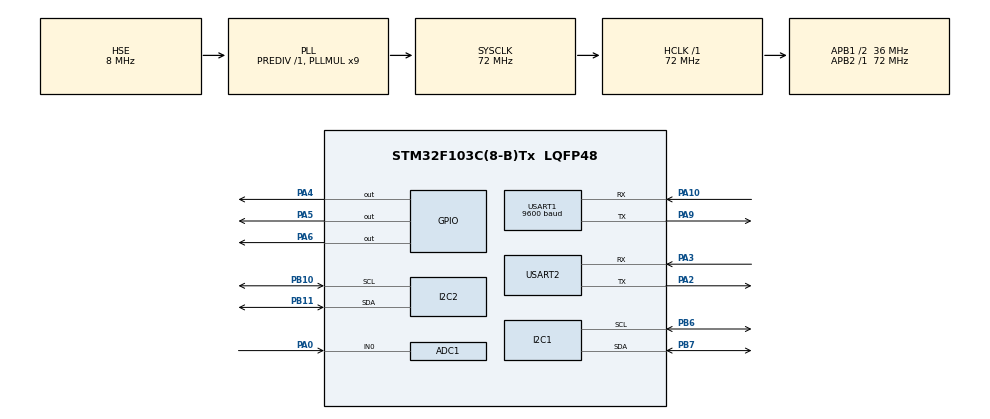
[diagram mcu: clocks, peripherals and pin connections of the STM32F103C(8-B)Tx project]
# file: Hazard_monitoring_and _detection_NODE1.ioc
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ADC1.Channel-2\#ChannelRegularConversion=ADC_CHANNEL_0
ADC1.NbrOfConversionFlag=1
ADC1.Rank-2\#ChannelRegularConversion=1
ADC1.SamplingTime-2\#ChannelRegularConversion=ADC_SAMPLETIME_1CYCLE_5
ADC1.master=1
Mcu.Family=STM32F1
Mcu.Name=STM32F103C(8-B)Tx
Mcu.Package=LQFP48
NVIC.PriorityGroup=NVIC_PRIORITYGROUP_4
NVIC.USART1_IRQn=true\:1\:0\:true\:false\:true\:true\:true\:true
PA0-WKUP.Signal=ADCx_IN0
PA10.Mode=Asynchronous
PA10.Signal=USART1_RX
PA13.Mode=Serial_Wire
PA13.Signal=SYS_JTMS-SWDIO
PA14.Mode=Serial_Wire
PA14.Signal=SYS_JTCK-SWCLK
PA2.Mode=Asynchronous
PA2.Signal=USART2_TX
PA3.Mode=Asynchronous
PA3.Signal=USART2_RX
PA4.Signal=GPIO_Output
PA5.Signal=GPIO_Output
PA6.Signal=GPIO_Output
PA9.Mode=Asynchronous
PA9.Signal=USART1_TX
PB10.Mode=I2C
PB10.Signal=I2C2_SCL
PB11.Mode=I2C
PB11.Signal=I2C2_SDA
PB6.Mode=I2C
PB6.Signal=I2C1_SCL
PB7.Mode=I2C
PB7.Signal=I2C1_SDA
PD0-OSC_IN.Mode=HSE-External-Oscillator
PD0-OSC_IN.Signal=RCC_OSC_IN
PD1-OSC_OUT.Mode=HSE-External-Oscillator
PD1-OSC_OUT.Signal=RCC_OSC_OUT
ProjectManager.HeapSize=0x200
ProjectManager.StackSize=0x400
ProjectManager.TargetToolchain=MDK-ARM V5.32
RCC.ADCPresc=RCC_ADCPCLK2_DIV6
RCC.AHBFreq_Value=72000000
RCC.APB1CLKDivider=RCC_HCLK_DIV2
RCC.APB1Freq_Value=36000000
RCC.APB1TimFreq_Value=72000000
RCC.APB2Freq_Value=72000000
RCC.APB2TimFreq_Value=72000000
RCC.HCLKFreq_Value=72000000
RCC.PLLMUL=RCC_PLL_MUL9
RCC.PLLSourceVirtual=RCC_PLLSOURCE_HSE
RCC.SYSCLKFreq_VALUE=72000000
RCC.SYSCLKSource=RCC_SYSCLKSOURCE_PLLCLK
RCC.USBFreq_Value=72000000
SH.ADCx_IN0.0=ADC1_IN0,IN0
TIM1.Prescaler=71
USART1.BaudRate=9600
USART1.VirtualMode=VM_ASYNC
USART2.VirtualMode=VM_ASYNC
VP_TIM1_VS_ClockSourceINT.Mode=Internal
board=custom

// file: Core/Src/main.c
/* USER CODE BEGIN Header */
/**
  ******************************************************************************
  * @file           : main.c
  * @brief          : Main program body
  ******************************************************************************
  * @attention
  *
  * Copyright (c) 2025 STMicroelectronics.
  * All rights reserved.
  *
  * This software is licensed under terms that can be found in the LICENSE file
  * in the root directory of this software component.
  * If no LICENSE file comes with this software, it is provided AS-IS.
  *
  ******************************************************************************
  */
/* USER CODE END Header */
#include "main.h"

/* USER CODE BEGIN Includes */
#include "MPU6050.h"
#include "MQ2.h"
#include "flash.h"
#include "hostweb.h"
#include "cprintf.h"
#include "LiquidCrystal_I2C.h"
#include "handle_cmd.h"
#include "uart.h"
#include "lorasendvalue.h"
/* USER CODE END Includes */

ADC_HandleTypeDef hadc1;

I2C_HandleTypeDef hi2c1;
I2C_HandleTypeDef hi2c2;

TIM_HandleTypeDef htim1;

UART_HandleTypeDef huart1;
UART_HandleTypeDef huart2;

void SystemClock_Config(void);
static void MX_GPIO_Init(void);
static void MX_USART1_UART_Init(void);
static void MX_TIM1_Init(void);
static void MX_ADC1_Init(void);
static void MX_I2C2_Init(void);
static void MX_USART2_UART_Init(void);
static void MX_I2C1_Init(void);

/* USER CODE BEGIN 0 */
/* ================= MPU VAR DECLARATION ================= */
MPU6050_Typedef mpu6050;
MQ2_Typedef mq2;
HostwebTypedef hostweb_node1;
LiquidCrystal_I2C hlcd1;

/* Nhan ngat UART */

static uint8_t data_rx;
void HAL_UART_RxCpltCallback(UART_HandleTypeDef *huart)
{
	if(huart->Instance == huart1.Instance)
	{

		receive_data(data_rx);
		HAL_UART_Receive_IT(&huart1,&data_rx,1);
	}
}

/* USER CODE END 0 */

int main(void)
{

  /* MCU Configuration--------------------------------------------------------*/

  /* Reset of all peripherals, Initializes the Flash interface and the Systick. */
  HAL_Init();

  /* USER CODE BEGIN Init */
	HAL_DeInit();
  /* USER CODE END Init */

  /* Configure the system clock */
  SystemClock_Config();

  /* Initialize all configured peripherals */
  MX_GPIO_Init();
  MX_USART1_UART_Init();
  MX_TIM1_Init();
  MX_ADC1_Init();
  MX_I2C2_Init();
  MX_USART2_UART_Init();
  MX_I2C1_Init();
  /* USER CODE BEGIN 2 */
	HAL_UART_Receive_IT(&huart1,&data_rx,1);
	uart_receive_handle(&hostweb_node1);

	MPU6050_init(&mpu6050, &hi2c2);
	calcGyroOffsets(&mpu6050, 0);
	mq2_init(&mq2, &hadc1, ADC_CHANNEL_0);
	hostweb_init(&hostweb_node1, GPIOA, GPIO_PIN_4,
	GPIOA, GPIO_PIN_5,GPIOA, GPIO_PIN_6);
	lcd_init(&hlcd1, &hi2c1, LCD_ADDR_DEFAULT);
						lcd_clear_display(&hlcd1);
						lcd_display_pga_ppm(&hlcd1, &mpu6050, &mq2);
						send_pga_ppm_to_UART(&huart2, &mpu6050, &mq2);

//	// Set nguong bao dong
	hostweb_node1.pga_threshold=0.9;
	hostweb_node1.ppm_threshold = 10;
		hostweb_node1.buzzer_state = 0;
  /* USER CODE END 2 */

  /* Infinite loop */
  while (1)
  {

    /* USER CODE BEGIN 3 */
				static uint32_t mpu6050_time_delay = 0;
				if (HAL_GetTick() - mpu6050_time_delay >= 5)
					// Dung de tranh xung dot giua I2C va ADC
				{
					mpu6050_time_delay = HAL_GetTick();
					MPU6050_handle(&mpu6050);
//					mq2_handle(&mq2);
				}
				mq2_handle(&mq2);
		hostweb_handle(&hostweb_node1, &mpu6050, &mq2);

//		// Nhan nguong du lieu cam bien
//		static uint32_t receive_delay_time = 0;
//    if (HAL_GetTick() - receive_delay_time >= 2000)
//		{
//			receive_delay_time = HAL_GetTick();
//			uart_receive_handle(&hostweb_node1);
//    }
		// Nhan nguong du lieu cam bien
		uart_receive_handle(&hostweb_node1);
		// Gui du lieu cua cam bien sang esp32
		static uint32_t delay_time = 0;
    if (HAL_GetTick() - delay_time >= 5500)
		{ // Neu du 7s
				delay_time = HAL_GetTick();
			for( int i = 0; i<5; i++)
			{
				lora_send_sensor_value_esp32(&huart1, &mq2, &mpu6050);
				HAL_Delay(5);
			}
    }

		// Debug bang lcd va uart
		static uint32_t value_display_time;
		if (HAL_GetTick() - value_display_time >= 1000)
		{
			value_display_time =HAL_GetTick();
			lcd_display_pga_ppm(&hlcd1, &mpu6050, &mq2);
//			send_pga_ppm_to_UART(&huart2, &mpu6050, &mq2);

		}
		static uint32_t threshold_display_time;
		if (HAL_GetTick() - threshold_display_time >= 3000)
		{
			threshold_display_time =HAL_GetTick();
			lcd_display_threshold_pga_ppm(&hlcd1, &hostweb_node1);
//			send_threshold_to_UART(&huart2, &hostweb_node1);// Gui du lieu nguong den UART2
		}

	}
  /* USER CODE END 3 */
}

void SystemClock_Config(void)
{
  RCC_OscInitTypeDef RCC_OscInitStruct = {0};
  RCC_ClkInitTypeDef RCC_ClkInitStruct = {0};
  RCC_PeriphCLKInitTypeDef PeriphClkInit = {0};

  /** Initializes the RCC Oscillators according to the specified parameters
  * in the RCC_OscInitTypeDef structure.
  */
  RCC_OscInitStruct.OscillatorType = RCC_OSCILLATORTYPE_HSE;
  RCC_OscInitStruct.HSEState = RCC_HSE_ON;
  RCC_OscInitStruct.HSEPredivValue = RCC_HSE_PREDIV_DIV1;
  RCC_OscInitStruct.HSIState = RCC_HSI_ON;
  RCC_OscInitStruct.PLL.PLLState = RCC_PLL_ON;
  RCC_OscInitStruct.PLL.PLLSource = RCC_PLLSOURCE_HSE;
  RCC_OscInitStruct.PLL.PLLMUL = RCC_PLL_MUL9;
  if (HAL_RCC_OscConfig(&RCC_OscInitStruct) != HAL_OK)
  {
    Error_Handler();
  }

  /** Initializes the CPU, AHB and APB buses clocks
  */
  RCC_ClkInitStruct.ClockType = RCC_CLOCKTYPE_HCLK|RCC_CLOCKTYPE_SYSCLK
                              |RCC_CLOCKTYPE_PCLK1|RCC_CLOCKTYPE_PCLK2;
  RCC_ClkInitStruct.SYSCLKSource = RCC_SYSCLKSOURCE_PLLCLK;
  RCC_ClkInitStruct.AHBCLKDivider = RCC_SYSCLK_DIV1;
  RCC_ClkInitStruct.APB1CLKDivider = RCC_HCLK_DIV2;
  RCC_ClkInitStruct.APB2CLKDivider = RCC_HCLK_DIV1;

  if (HAL_RCC_ClockConfig(&RCC_ClkInitStruct, FLASH_LATENCY_2) != HAL_OK)
  {
    Error_Handler();
  }
  PeriphClkInit.PeriphClockSelection = RCC_PERIPHCLK_ADC;
  PeriphClkInit.AdcClockSelection = RCC_ADCPCLK2_DIV6;
  if (HAL_RCCEx_PeriphCLKConfig(&PeriphClkInit) != HAL_OK)
  {
    Error_Handler();
  }
}

static void MX_ADC1_Init(void)
{

  ADC_ChannelConfTypeDef sConfig = {0};

  /** Common config
  */
  hadc1.Instance = ADC1;
  hadc1.Init.ScanConvMode = ADC_SCAN_DISABLE;
  hadc1.Init.ContinuousConvMode = DISABLE;
  hadc1.Init.DiscontinuousConvMode = DISABLE;
  hadc1.Init.ExternalTrigConv = ADC_SOFTWARE_START;
  hadc1.Init.DataAlign = ADC_DATAALIGN_RIGHT;
  hadc1.Init.NbrOfConversion = 1;
  if (HAL_ADC_Init(&hadc1) != HAL_OK)
  {
    Error_Handler();
  }

  /** Configure Regular Channel
  */
  sConfig.Channel = ADC_CHANNEL_0;
  sConfig.Rank = ADC_REGULAR_RANK_1;
  sConfig.SamplingTime = ADC_SAMPLETIME_1CYCLE_5;
  if (HAL_ADC_ConfigChannel(&hadc1, &sConfig) != HAL_OK)
  {
    Error_Handler();
  }

}

static void MX_I2C1_Init(void)
{

  hi2c1.Instance = I2C1;
  hi2c1.Init.ClockSpeed = 100000;
  hi2c1.Init.DutyCycle = I2C_DUTYCYCLE_2;
  hi2c1.Init.OwnAddress1 = 0;
  hi2c1.Init.AddressingMode = I2C_ADDRESSINGMODE_7BIT;
  hi2c1.Init.DualAddressMode = I2C_DUALADDRESS_DISABLE;
  hi2c1.Init.OwnAddress2 = 0;
  hi2c1.Init.GeneralCallMode = I2C_GENERALCALL_DISABLE;
  hi2c1.Init.NoStretchMode = I2C_NOSTRETCH_DISABLE;
  if (HAL_I2C_Init(&hi2c1) != HAL_OK)
  {
    Error_Handler();
  }

}

static void MX_I2C2_Init(void)
{

  hi2c2.Instance = I2C2;
  hi2c2.Init.ClockSpeed = 100000;
  hi2c2.Init.DutyCycle = I2C_DUTYCYCLE_2;
  hi2c2.Init.OwnAddress1 = 0;
  hi2c2.Init.AddressingMode = I2C_ADDRESSINGMODE_7BIT;
  hi2c2.Init.DualAddressMode = I2C_DUALADDRESS_DISABLE;
  hi2c2.Init.OwnAddress2 = 0;
  hi2c2.Init.GeneralCallMode = I2C_GENERALCALL_DISABLE;
  hi2c2.Init.NoStretchMode = I2C_NOSTRETCH_DISABLE;
  if (HAL_I2C_Init(&hi2c2) != HAL_OK)
  {
    Error_Handler();
  }

}

static void MX_TIM1_Init(void)
{

  TIM_ClockConfigTypeDef sClockSourceConfig = {0};
  TIM_MasterConfigTypeDef sMasterConfig = {0};

  htim1.Instance = TIM1;
  htim1.Init.Prescaler = 71;
  htim1.Init.CounterMode = TIM_COUNTERMODE_UP;
  htim1.Init.Period = 65535;
  htim1.Init.ClockDivision = TIM_CLOCKDIVISION_DIV1;
  htim1.Init.RepetitionCounter = 0;
  htim1.Init.AutoReloadPreload = TIM_AUTORELOAD_PRELOAD_DISABLE;
  if (HAL_TIM_Base_Init(&htim1) != HAL_OK)
  {
    Error_Handler();
  }
  sClockSourceConfig.ClockSource = TIM_CLOCKSOURCE_INTERNAL;
  if (HAL_TIM_ConfigClockSource(&htim1, &sClockSourceConfig) != HAL_OK)
  {
    Error_Handler();
  }
  sMasterConfig.MasterOutputTrigger = TIM_TRGO_RESET;
  sMasterConfig.MasterSlaveMode = TIM_MASTERSLAVEMODE_DISABLE;
  if (HAL_TIMEx_MasterConfigSynchronization(&htim1, &sMasterConfig) != HAL_OK)
  {
    Error_Handler();
  }

}

static void MX_USART1_UART_Init(void)
{

  huart1.Instance = USART1;
  huart1.Init.BaudRate = 9600;
  huart1.Init.WordLength = UART_WORDLENGTH_8B;
  huart1.Init.StopBits = UART_STOPBITS_1;
  huart1.Init.Parity = UART_PARITY_NONE;
  huart1.Init.Mode = UART_MODE_TX_RX;
  huart1.Init.HwFlowCtl = UART_HWCONTROL_NONE;
  huart1.Init.OverSampling = UART_OVERSAMPLING_16;
  if (HAL_UART_Init(&huart1) != HAL_OK)
  {
    Error_Handler();
  }

}

static void MX_USART2_UART_Init(void)
{

  huart2.Instance = USART2;
  huart2.Init.BaudRate = 115200;
  huart2.Init.WordLength = UART_WORDLENGTH_8B;
  huart2.Init.StopBits = UART_STOPBITS_1;
  huart2.Init.Parity = UART_PARITY_NONE;
  huart2.Init.Mode = UART_MODE_TX_RX;
  huart2.Init.HwFlowCtl = UART_HWCONTROL_NONE;
  huart2.Init.OverSampling = UART_OVERSAMPLING_16;
  if (HAL_UART_Init(&huart2) != HAL_OK)
  {
    Error_Handler();
  }

}

static void MX_GPIO_Init(void)
{
  GPIO_InitTypeDef GPIO_InitStruct = {0};

  /* GPIO Ports Clock Enable */
  __HAL_RCC_GPIOD_CLK_ENABLE();
  __HAL_RCC_GPIOA_CLK_ENABLE();
  __HAL_RCC_GPIOB_CLK_ENABLE();

  /*Configure GPIO pin Output Level */
  HAL_GPIO_WritePin(GPIOA, GPIO_PIN_4|GPIO_PIN_5|GPIO_PIN_6, GPIO_PIN_RESET);

  /*Configure GPIO pins : PA4 PA5 PA6 */
  GPIO_InitStruct.Pin = GPIO_PIN_4|GPIO_PIN_5|GPIO_PIN_6;
  GPIO_InitStruct.Mode = GPIO_MODE_OUTPUT_PP;
  GPIO_InitStruct.Pull = GPIO_NOPULL;
  GPIO_InitStruct.Speed = GPIO_SPEED_FREQ_LOW;
  HAL_GPIO_Init(GPIOA, &GPIO_InitStruct);

}

void Error_Handler(void)
{
  __disable_irq();
  while (1)
  {
  }
}
